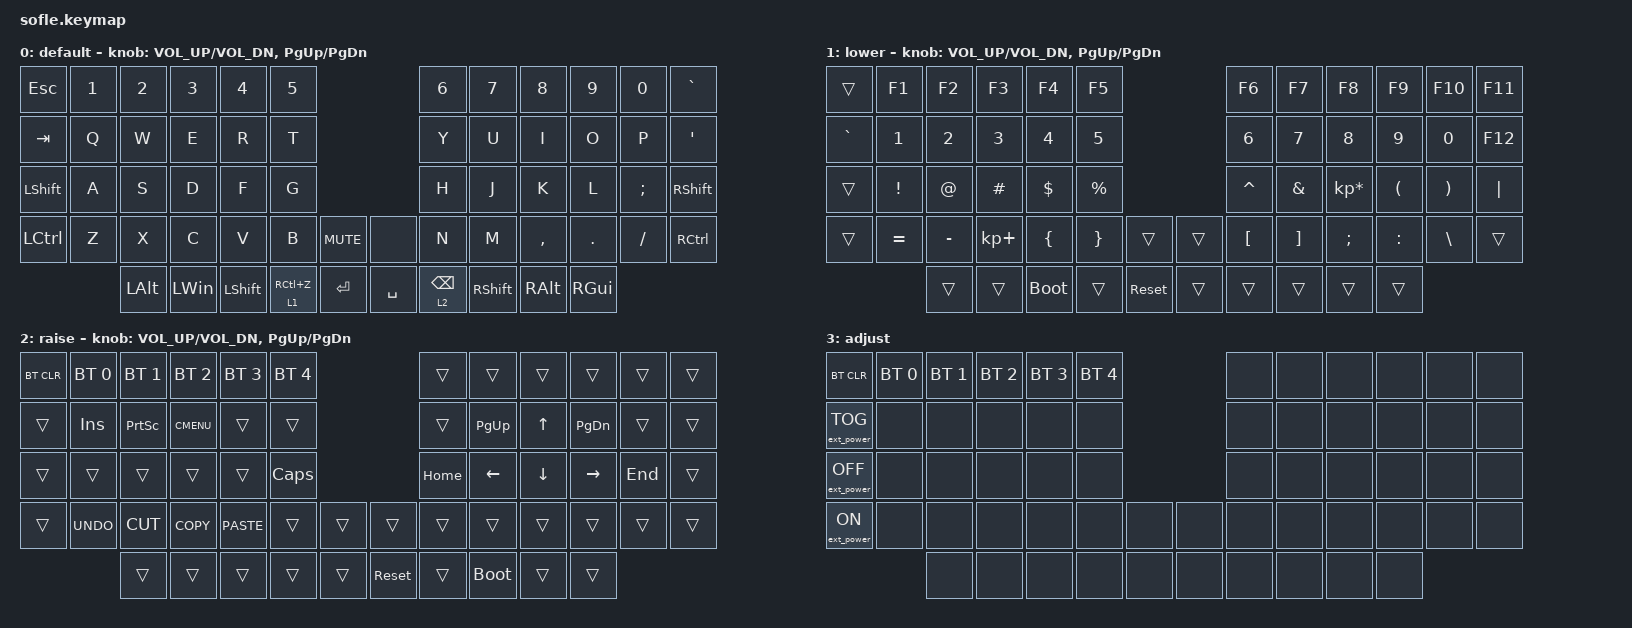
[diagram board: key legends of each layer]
/*
 * Copyright (c) 2020 The ZMK Contributors
 *
 * SPDX-License-Identifier: MIT
 */

#include <behaviors.dtsi>
#include <dt-bindings/zmk/bt.h>
#include <dt-bindings/zmk/ext_power.h>
#include <dt-bindings/zmk/keys.h>

#include "zmk-helpers/key-labels/36.h"                                      // Source key-labels.
#define KEYS_L LT0 LT1 LT2 LT3 LT4 LM0 LM1 LM2 LM3 LM4 LB0 LB1 LB2 LB3 LB4  // Left-hand keys.
#define KEYS_R RT0 RT1 RT2 RT3 RT4 RM0 RM1 RM2 RM3 RM4 RB0 RB1 RB2 RB3 RB4  // Right-hand keys.
#define THUMBS LH2 LH1 LH0 RH0 RH1 RH2                                      // Thumb keys.

/* Left-hand HRMs. */
ZMK_HOLD_TAP(hml,
    flavor = "balanced";
    tapping-term-ms = <280>;
    quick-tap-ms = <175>;
    require-prior-idle-ms = <150>;
    bindings = <&kp>, <&kp>;
    hold-trigger-key-positions = <KEYS_R THUMBS>;
    hold-trigger-on-release;
)

/* Right-hand HRMs. */
ZMK_HOLD_TAP(hmr,
    flavor = "balanced";
    tapping-term-ms = <280>;
    quick-tap-ms = <175>;
    require-prior-idle-ms = <150>;
    bindings = <&kp>, <&kp>;
    hold-trigger-key-positions = <KEYS_L THUMBS>;
    hold-trigger-on-release;
)

#define BASE 0
#define LOWER 1
#define RAISE 2
#define ADJUST 3

/ {
    // Activate ADJUST layer by pressing raise and lower

    conditional_layers {
        compatible = "zmk,conditional-layers";

        adjust_layer {
            if-layers = <1 2>;
            then-layer = <3>;
        };
    };

    keymap {
        compatible = "zmk,keymap";

        default_layer {
            label = "default";

            // ------------------------------------------------------------------------------------------------------------
            // |   `   |  1  |  2  |  3   |  4   |  5   |                   |  6   |  7    |  8    |  9   |   0   |       |
            // |  ESC  |  Q  |  W  |  E   |  R   |  T   |                   |  Y   |  U    |  I    |  O   |   P   | BKSPC |
            // |  TAB  |  A  |  S  |  D   |  F   |  G   |                   |  H   |  J    |  K    |  L   |   ;   |   '   |
            // | SHIFT |  Z  |  X  |  C   |  V   |  B   |  MUTE  |  |       |  N   |  M    |  ,    |  .   |   /   | SHIFT |
            //               | GUI | ALT  | CTRL | LOWER|  ENTER |  | SPACE | RAISE| CTRL  | ALT   | GUI  |

            bindings = <
&kp ESCAPE        &kp N1  &kp N2        &kp N3        &kp N4          &kp N5                                &kp N6           &kp N7           &kp N8     &kp N9    &kp N0    &kp GRAVE
&kp TAB           &kp Q   &kp W         &kp E         &kp R           &kp T                                 &kp Y            &kp U            &kp I      &kp O     &kp P     &kp APOS
&kp LEFT_SHIFT    &kp A   &kp S         &kp D         &kp F           &kp G                                 &kp H            &kp J            &kp K      &kp L     &kp SEMI  &kp RIGHT_SHIFT
&kp LEFT_CONTROL  &kp Z   &kp X         &kp C         &kp V           &kp B        &kp C_MUTE    &none      &kp N            &kp M            &kp COMMA  &kp DOT   &kp FSLH  &kp RIGHT_CONTROL
                          &kp LEFT_ALT  &kp LEFT_WIN  &kp LEFT_SHIFT  &lt 1 RC(Z)  &kp RET       &kp SPACE  &lt 2 BACKSPACE  &kp RIGHT_SHIFT  &kp RALT   &kp RGUI
            >;

            sensor-bindings = <&inc_dec_kp C_VOL_UP C_VOL_DN &inc_dec_kp PG_UP PG_DN>;
        };

        lower_layer {
            label = "lower";

            // TODO: Some binds are waiting for shifted keycode support.
            // ------------------------------------------------------------------------------------------------------------
            // |       |  F1 |  F2 |  F3  |  F4  |  F5  |                   |  F6  |  F7   |  F8   |  F9  |  F10  |  F11  |
            // |   `   |  1  |  2  |  3   |  4   |  5   |                   |  6   |  7    |  8    |  9   |   0   |  F12  |
            // |       |  !  |  @  |  #   |  $   |  %   |                   |  ^   |  &    |  *    |  (   |   )   |   |   |
            // |       |  =  |  -  |  +   |  {   |  }   |        |  |       |  [   |  ]    |  ;    |  :   |   \   |       |
            //               |     |      |      |      |        |  |       |      |       |       |      |

            bindings = <
&trans     &kp F1     &kp F2     &kp F3       &kp F4       &kp F5                           &kp F6     &kp F7    &kp F8           &kp F9     &kp F10   &kp F11
&kp GRAVE  &kp N1     &kp N2     &kp N3       &kp N4       &kp N5                           &kp N6     &kp N7    &kp N8           &kp N9     &kp N0    &kp F12
&trans     &kp EXCL   &kp AT     &kp HASH     &kp DLLR     &kp PRCNT                        &kp CARET  &kp AMPS  &kp KP_MULTIPLY  &kp LPAR   &kp RPAR  &kp PIPE
&trans     &kp EQUAL  &kp MINUS  &kp KP_PLUS  &kp LBRC     &kp RBRC   &trans        &trans  &kp LBKT   &kp RBKT  &kp SEMI         &kp COLON  &kp BSLH  &trans
                      &trans     &trans       &bootloader  &trans     &sys_reset    &trans  &trans     &trans    &trans           &trans
            >;

            sensor-bindings = <&inc_dec_kp C_VOL_UP C_VOL_DN &inc_dec_kp PG_UP PG_DN>;
        };

        raise_layer {
            label = "raise";

            // ------------------------------------------------------------------------------------------------------------
            // | BTCLR | BT1  | BT2  |  BT3  |  BT4  |  BT5 |                |      |      |       |      |       |       |
            // |       | INS  | PSCR | GUI   |       |      |                | PGUP |      |   ^   |      |       |       |
            // |       | ALT  | CTRL | SHIFT |       | CAPS |                | PGDN |   <- |   v   |  ->  |  DEL  | BKSPC |
            // |       | UNDO | CUT  | COPY  | PASTE |      |      |  |      |      |      |       |      |       |       |
            //                |      |       |       |      |      |  |      |      |      |       |      |

            bindings = <
&bt BT_CLR  &bt BT_SEL 0  &bt BT_SEL 1  &bt BT_SEL 2  &bt BT_SEL 3  &bt BT_SEL 4                        &trans    &trans       &trans    &trans         &trans   &trans
&trans      &kp INS       &kp PSCRN     &kp K_CMENU   &trans        &trans                              &trans    &kp PAGE_UP  &kp UP    &kp PAGE_DOWN  &trans   &trans
&trans      &trans        &trans        &trans        &trans        &kp CLCK                            &kp HOME  &kp LEFT     &kp DOWN  &kp RIGHT      &kp END  &trans
&trans      &kp K_UNDO    &kp K_CUT     &kp K_COPY    &kp K_PASTE   &trans        &trans    &trans      &trans    &trans       &trans    &trans         &trans   &trans
                          &trans        &trans        &trans        &trans        &trans    &sys_reset  &trans    &bootloader  &trans    &trans
            >;

            sensor-bindings = <&inc_dec_kp C_VOL_UP C_VOL_DN &inc_dec_kp PG_UP PG_DN>;
        };

        adjust_layer {
            // ----------------------------------------------------------------------------------------------------------------------------
            // | BTCLR  |  BT1    |  BT2    |   BT3   |   BT4   |   BT5   |                  |      |      |       |      |       |       |
            // | EXTPWR | RGB_HUD | RGB_HUI | RGB_SAD | RGB_SAI | RGB_EFF |                  |      |      |       |      |       |       |
            // |        | RGB_BRD | RGB_BRI |         |         |         |                  |      |      |       |      |       |       |
            // |        |         |         |         |         |         | RGB_TOG | |      |      |      |       |      |       |       |
            //                    |         |         |         |         |         | |      |      |      |       |      |

            label = "adjust";
            bindings = <
&bt BT_CLR         &bt BT_SEL 0  &bt BT_SEL 1  &bt BT_SEL 2  &bt BT_SEL 3  &bt BT_SEL 4                  &none  &none  &none  &none  &none  &none
&ext_power EP_TOG  &none         &none         &none         &none         &none                         &none  &none  &none  &none  &none  &none
&ext_power EP_OFF  &none         &none         &none         &none         &none                         &none  &none  &none  &none  &none  &none
&ext_power EP_ON   &none         &none         &none         &none         &none         &none    &none  &none  &none  &none  &none  &none  &none
                                 &none         &none         &none         &none         &none    &none  &none  &none  &none  &none
            >;
        };
    };
};
